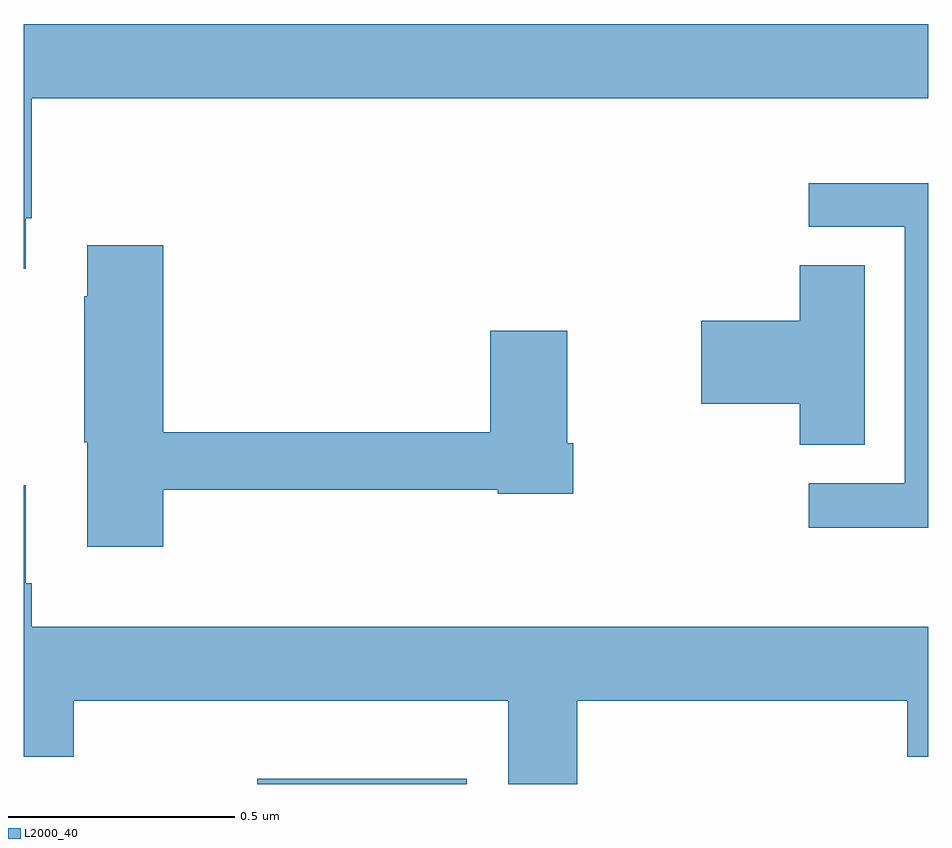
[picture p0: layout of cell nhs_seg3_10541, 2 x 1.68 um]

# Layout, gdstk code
import gdstk
lib = gdstk.Library(unit=1e-6, precision=1e-09)
def R(c, l, rs):  # rectangles x0, y0, x1, y1
    for r in rs: c.add(gdstk.rectangle(r[:2], r[2:], *l))
def P(c, l, *ps):  # polygons
    for p in ps: c.add(gdstk.Polygon(p, *l))
L2000_40 = (2000, 40)

nhs_seg3_10541 = lib.new_cell('nhs_seg3_10541')
R(nhs_seg3_10541, L2000_40, [(242.516,699.4,242.98,699.412)])
P(nhs_seg3_10541, L2000_40, [(242.005,700.651),(242.018,700.651),(242.018,700.916),(244,700.916),(244,701.08),(242,701.08),(242,700.539),(242.005,700.539)],
  [(244,700.728),(243.735,700.728),(243.735,700.632),(243.948,700.632),(243.948,700.065),(243.735,700.065),(243.735,699.967),(244,699.967)],
  [(242.309,700.05),(243.048,700.05),(243.048,700.042),(243.215,700.042),(243.215,700.153),(243.202,700.153),(243.202,700.402),(243.032,700.402),(243.032,700.178),(242.309,700.178),(242.309,700.591),(242.141,700.591),(242.141,700.478),(242.134,700.478),(242.134,700.155),(242.141,700.155),(242.141,699.924),(242.309,699.924)],
  [(243.859,700.547),(243.716,700.547),(243.716,700.424),(243.498,700.424),(243.498,700.241),(243.716,700.241),(243.716,700.15),(243.859,700.15)],
  [(243.224,699.584),(243.953,699.584),(243.953,699.46),(244,699.46),(244,699.748),(242.018,699.748),(242.018,699.844),(242.005,699.844),(242.005,700.06),(242,700.06),(242,699.46),(242.111,699.46),(242.111,699.584),(243.071,699.584),(243.071,699.4),(243.224,699.4)])

lib.write_gds('nhs_seg3_10541.gds')
